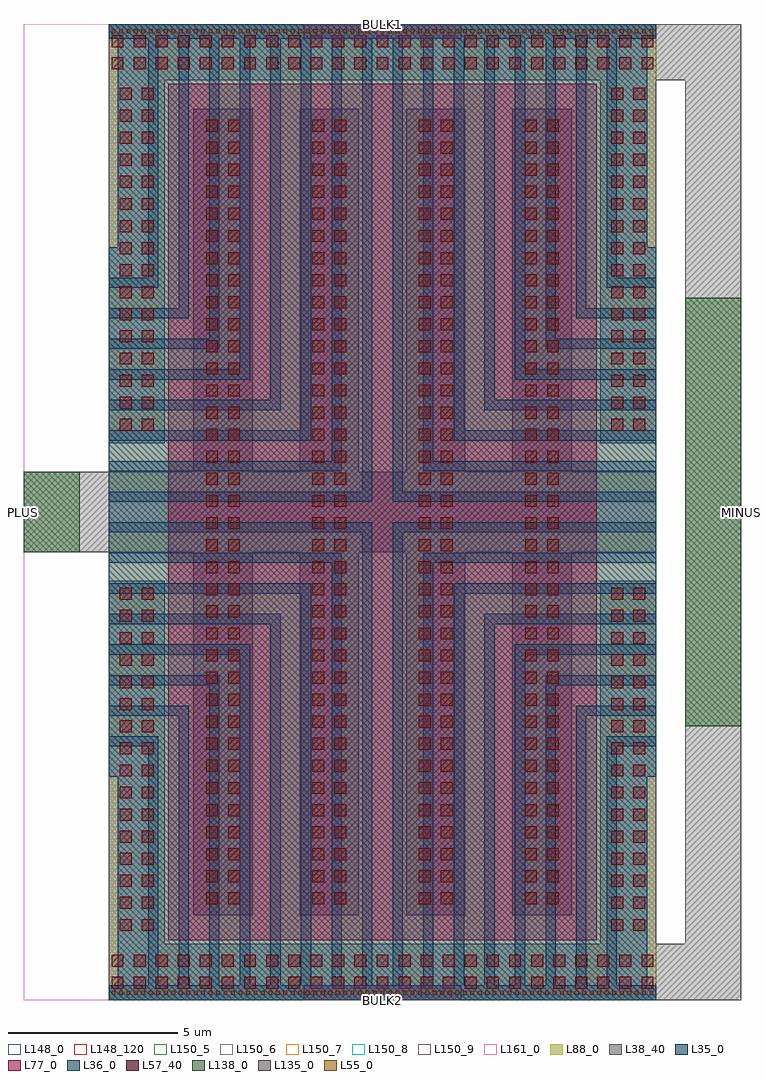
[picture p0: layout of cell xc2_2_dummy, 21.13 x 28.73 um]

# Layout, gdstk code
import gdstk
lib = gdstk.Library(unit=1e-6, precision=1e-09)
def R(c, l, rs):  # rectangles x0, y0, x1, y1
    for r in rs: c.add(gdstk.rectangle(r[:2], r[2:], *l))
def A(c, l, x, y, w, h, nx, ny, dx, dy):  # array of equal rectangles
    R(c, l, [(x+i*dx, y+j*dy, x+i*dx+w, y+j*dy+h) for i in range(nx) for j in range(ny)])
def P(c, l, *ps):  # polygons
    for p in ps: c.add(gdstk.Polygon(p, *l))
L35_0 = (35, 0)
L36_0 = (36, 0)
L38_40 = (38, 40)
L55_0 = (55, 0)
L57_40 = (57, 40)
L77_0 = (77, 0)
L88_0 = (88, 0)
L135_0 = (135, 0)
L138_0 = (138, 0)
L148_0 = (148, 0)
L148_120 = (148, 120)
L150_5 = (150, 5)
L150_6 = (150, 6)
L150_7 = (150, 7)
L150_8 = (150, 8)
L150_9 = (150, 9)
L161_0 = (161, 0)

xc2_2_dummy = lib.new_cell('xc2_2_dummy')
R(xc2_2_dummy, L35_0, [(-1.76,-1.76,14.37,-1.33), (-1.495,-1.76,-0.295,5.405), (0.305,-1.76,1.505,7.205), (2.105,-1.76,3.305,9.005), (3.905,-1.76,5.105,10.805), (5.705,-1.76,6.905,26.97), (7.505,-1.76,8.705,10.805), (9.305,-1.76,10.505,9.005), (11.105,-1.76,12.305,7.205), (12.905,-1.76,14.105,5.405), (-1.76,4.805,-0.295,6.005), (12.905,4.805,14.37,6.005), (-1.76,6.605,1.505,7.805), (11.105,6.605,14.37,7.805), (-1.76,8.405,3.305,9.605), (9.305,8.405,14.37,9.605), (-1.76,10.205,5.105,11.405), (7.505,10.205,14.37,11.405), (-1.76,12.005,14.37,13.205), (-1.76,13.805,5.105,15.005), (7.505,13.805,14.37,15.005), (3.905,14.405,5.105,26.97), (7.505,14.405,8.705,26.97), (-1.76,15.605,3.305,16.805), (9.305,15.605,14.37,16.805), (2.105,16.205,3.305,26.97), (9.305,16.205,10.505,26.97), (-1.76,17.405,1.505,18.605), (11.105,17.405,14.37,18.605), (0.305,18.005,1.505,26.97), (11.105,18.005,12.305,26.97), (-1.76,19.205,-0.295,20.405), (12.905,19.205,14.37,20.405), (-1.495,19.805,-0.295,26.97), (12.905,19.805,14.105,26.97), (-1.76,26.54,14.37,26.97)])
R(xc2_2_dummy, L36_0, [(-1.76,-1.76,14.37,-1.33), (-0.595,-1.76,0.605,6.305), (1.205,-1.76,2.405,8.105), (3.005,-1.76,4.205,9.905), (4.805,-1.76,6.005,11.705), (6.605,-1.76,7.805,11.705), (8.405,-1.76,9.605,9.905), (10.205,-1.76,11.405,8.105), (12.005,-1.76,13.205,6.305), (-1.76,5.705,0.605,6.905), (12.005,5.705,14.37,6.905), (-1.76,7.505,2.405,8.705), (10.205,7.505,14.37,8.705), (-1.76,9.305,4.205,10.505), (8.405,9.305,14.37,10.505), (-1.76,11.105,6.005,12.305), (6.605,11.105,14.37,12.305), (-1.76,12.905,6.005,14.105), (6.605,12.905,14.37,14.105), (4.805,13.505,6.005,26.97), (6.605,13.505,7.805,26.97), (-1.76,14.705,4.205,15.905), (8.405,14.705,14.37,15.905), (3.005,15.305,4.205,26.97), (8.405,15.305,9.605,26.97), (-1.76,16.505,2.405,17.705), (10.205,16.505,14.37,17.705), (1.205,17.105,2.405,26.97), (10.205,17.105,11.405,26.97), (-1.76,18.305,0.605,19.505), (12.005,18.305,14.37,19.505), (-0.595,18.905,0.605,26.97), (12.005,18.905,13.205,26.97), (-1.76,26.54,14.37,26.97)])
A(xc2_2_dummy, L38_40, 0.74, 0.74, 1.74, 10.685, 4, 1, 3.13, 0)
R(xc2_2_dummy, L38_40, [(14.37,-1.76,16.87,-0.1), (15.21,-1.76,16.87,26.97), (-4.26,11.425,14.37,13.785), (0.74,13.785,2.48,24.47), (0.74,13.785,2.48,24.47), (3.87,13.785,5.61,24.47), (3.87,13.785,5.61,24.47), (7,13.785,8.74,24.47), (7,13.785,8.74,24.47), (10.13,13.785,11.87,24.47), (10.13,13.785,11.87,24.47), (14.37,25.31,16.87,26.97)])
P(xc2_2_dummy, L38_40, [(-0.1,25.31),(12.71,25.31),(12.71,14.625),(14.37,14.625),(14.37,26.97),(-1.76,26.97),(-1.76,14.625),(-0.1,14.625)],
  [(-1.76,10.585),(-1.76,-1.76),(14.37,-1.76),(14.37,10.585),(12.71,10.585),(12.71,-0.1),(-0.1,-0.1),(-0.1,10.585)])
A(xc2_2_dummy, L55_0, -1.67, -1.6, 0.11, 0.11, 73, 2, 0.22, 28.3)
A(xc2_2_dummy, L57_40, -1.67, -1.43, 0.35, 0.35, 25, 2, 0.65, 0.65)
A(xc2_2_dummy, L57_40, -1.43, 0.272, 0.35, 0.35, 1, 12, 0, 0.65)
A(xc2_2_dummy, L57_40, -0.78, 0.272, 0.35, 0.35, 1, 12, 0, 0.65)
A(xc2_2_dummy, L57_40, 13.04, 0.272, 0.35, 0.35, 1, 12, 0, 0.65)
A(xc2_2_dummy, L57_40, 13.69, 0.272, 0.35, 0.35, 1, 12, 0, 0.65)
A(xc2_2_dummy, L57_40, 1.11, 1.055, 0.35, 0.35, 1, 36, 0, 0.65)
A(xc2_2_dummy, L57_40, 1.76, 1.055, 0.35, 0.35, 1, 36, 0, 0.65)
A(xc2_2_dummy, L57_40, 4.24, 1.055, 0.35, 0.35, 1, 36, 0, 0.65)
A(xc2_2_dummy, L57_40, 4.89, 1.055, 0.35, 0.35, 1, 36, 0, 0.65)
A(xc2_2_dummy, L57_40, 7.37, 1.055, 0.35, 0.35, 1, 36, 0, 0.65)
A(xc2_2_dummy, L57_40, 8.02, 1.055, 0.35, 0.35, 1, 36, 0, 0.65)
A(xc2_2_dummy, L57_40, 10.5, 1.055, 0.35, 0.35, 1, 36, 0, 0.65)
A(xc2_2_dummy, L57_40, 11.15, 1.055, 0.35, 0.35, 1, 36, 0, 0.65)
A(xc2_2_dummy, L57_40, -1.43, 14.998, 0.35, 0.35, 1, 9, 0, 0.65)
A(xc2_2_dummy, L57_40, -0.78, 14.998, 0.35, 0.35, 1, 9, 0, 0.65)
A(xc2_2_dummy, L57_40, 13.04, 14.998, 0.35, 0.35, 1, 9, 0, 0.65)
A(xc2_2_dummy, L57_40, 13.69, 14.998, 0.35, 0.35, 1, 9, 0, 0.65)
A(xc2_2_dummy, L57_40, -1.43, 21.497, 0.35, 0.35, 1, 6, 0, 0.65)
A(xc2_2_dummy, L57_40, -0.78, 21.497, 0.35, 0.35, 1, 6, 0, 0.65)
A(xc2_2_dummy, L57_40, 13.04, 21.497, 0.35, 0.35, 1, 6, 0, 0.65)
A(xc2_2_dummy, L57_40, 13.69, 21.497, 0.35, 0.35, 1, 6, 0, 0.65)
A(xc2_2_dummy, L57_40, -1.67, 25.64, 0.35, 0.35, 25, 2, 0.65, 0.65)
R(xc2_2_dummy, L57_40, [(-1.43,8.073,-1.08,8.422), (-0.78,8.073,-0.43,8.422), (13.04,8.073,13.39,8.422), (13.69,8.073,14.04,8.422), (-1.43,8.722,-1.08,9.072), (-0.78,8.722,-0.43,9.072), (13.04,8.722,13.39,9.072), (13.69,8.722,14.04,9.072), (-1.43,9.373,-1.08,9.722), (-0.78,9.373,-0.43,9.722), (13.04,9.373,13.39,9.722), (13.69,9.373,14.04,9.722), (-1.43,10.022,-1.08,10.373), (-0.78,10.022,-0.43,10.373), (13.04,10.022,13.39,10.373), (13.69,10.022,14.04,10.373), (-1.43,20.847,-1.08,21.198), (-0.78,20.847,-0.43,21.198), (13.04,20.847,13.39,21.198), (13.69,20.847,14.04,21.198)])
R(xc2_2_dummy, L77_0, [(0,0,12.61,25.21)])
R(xc2_2_dummy, L88_0, [(-1.76,-1.76,14.37,26.97)])
R(xc2_2_dummy, L135_0, [(3.988,-1.76,8.622,-1.33), (3.988,26.54,8.622,26.97)])
R(xc2_2_dummy, L138_0, [(15.21,6.3,16.87,18.91), (-4.26,11.425,-2.6,13.785)])
R(xc2_2_dummy, L148_0, [(-4.26,-1.76,16.87,26.97)])
R(xc2_2_dummy, L148_120, [(-4.26,-1.76,16.87,26.97)])
R(xc2_2_dummy, L150_5, [(-4.26,-1.76,16.87,26.97)])
R(xc2_2_dummy, L150_6, [(-4.26,-1.76,16.87,26.97)])
R(xc2_2_dummy, L150_7, [(-4.26,-1.76,16.87,26.97)])
R(xc2_2_dummy, L150_8, [(-4.26,-1.76,16.87,26.97)])
R(xc2_2_dummy, L150_9, [(-4.26,-1.76,16.87,26.97)])
R(xc2_2_dummy, L161_0, [(-4.26,-1.76,16.87,26.97)])
xc2_2_dummy.add(gdstk.Label('BULK1', (6.305,26.97), layer=135, texttype=0))
xc2_2_dummy.add(gdstk.Label('BULK2', (6.305,-1.76), layer=135, texttype=0))
xc2_2_dummy.add(gdstk.Label('PLUS', (-4.26,12.605), layer=138, texttype=0))
xc2_2_dummy.add(gdstk.Label('MINUS', (16.87,12.605), layer=138, texttype=0))

lib.write_gds('xc2_2_dummy.gds')
